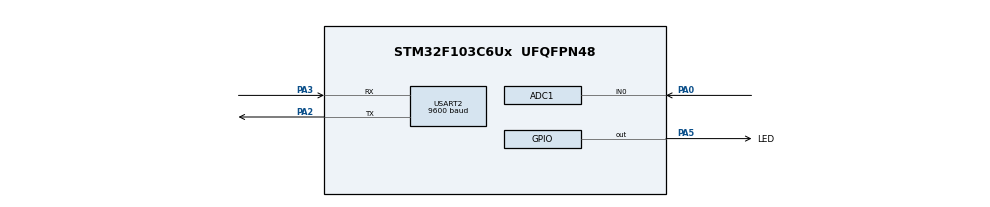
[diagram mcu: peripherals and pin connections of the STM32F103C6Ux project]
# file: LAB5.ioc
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ADC1.Channel-0\#ChannelRegularConversion=ADC_CHANNEL_0
ADC1.ContinuousConvMode=ENABLE
ADC1.NbrOfConversionFlag=1
ADC1.Rank-0\#ChannelRegularConversion=1
ADC1.SamplingTime-0\#ChannelRegularConversion=ADC_SAMPLETIME_1CYCLE_5
ADC1.master=1
Mcu.Family=STM32F1
Mcu.Name=STM32F103C6Ux
Mcu.Package=UFQFPN48
NVIC.PriorityGroup=NVIC_PRIORITYGROUP_4
NVIC.TIM2_IRQn=true\:0\:0\:false\:false\:true\:true\:true
NVIC.USART2_IRQn=true\:0\:0\:false\:false\:true\:true\:true
PA0-WKUP.Signal=ADCx_IN0
PA2.Mode=Asynchronous
PA2.Signal=USART2_TX
PA3.Mode=Asynchronous
PA3.Signal=USART2_RX
PA5.GPIO_Label=LED
PA5.Signal=GPIO_Output
ProjectManager.HeapSize=0x200
ProjectManager.StackSize=0x400
ProjectManager.TargetToolchain=STM32CubeIDE
RCC.APB1Freq_Value=8000000
RCC.APB2Freq_Value=8000000
SH.ADCx_IN0.0=ADC1_IN0,IN0
TIM2.Period=7999
TIM2.Prescaler=9
USART2.BaudRate=9600
USART2.VirtualMode=VM_ASYNC
VP_SYS_VS_ND.Mode=No_Debug
VP_TIM2_VS_ClockSourceINT.Mode=Internal
board=custom

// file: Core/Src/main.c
/* USER CODE BEGIN Header */
/**
  ******************************************************************************
  * @file           : main.c
  * @brief          : Main program body
  ******************************************************************************
  * @attention
  *
  * <h2><center>&copy; Copyright (c) 2023 STMicroelectronics.
  * All rights reserved.</center></h2>
  *
  * This software component is licensed by ST under BSD 3-Clause license,
  * the "License"; You may not use this file except in compliance with the
  * License. You may obtain a copy of the License at:
  *                        opensource.org/licenses/BSD-3-Clause
  *
  ******************************************************************************
  */
/* USER CODE END Header */
#include "main.h"

/* USER CODE BEGIN Includes */
#include "global.h"
#include "softwaretimer.h"
#include <stdio.h>
#include "string.h"
/* USER CODE END Includes */

ADC_HandleTypeDef hadc1;

TIM_HandleTypeDef htim2;

UART_HandleTypeDef huart2;

void SystemClock_Config(void);
static void MX_GPIO_Init(void);
static void MX_ADC1_Init(void);
static void MX_TIM2_Init(void);
static void MX_USART2_UART_Init(void);

/* USER CODE BEGIN 0 */

//int parser_check_next = INIT;
//int message_UART = INIT;
//
//int ADC_value = 0;
//char str[50];

void command_parser_fsm() {
	int index;
	if (index_buffer == 0) index = MAX_BUFFER_SIZE - 1;
	else index = index_buffer - 1;

	if (BEGIN){
		switch(parser_check_next) {
		case INIT:
			if (buffer[index] == '!') parser_check_next = _;
			HAL_UART_Transmit(&huart2, (uint8_t *)&buffer[index], 1, 1000);
			break;
		case _:
			if (buffer[index] == 'R') parser_check_next = _R;
			HAL_UART_Transmit(&huart2, (uint8_t *)&buffer[index], 1, 1000);
			break;
		case _R:
			if (buffer[index] == 'S') parser_check_next = _RS;
			HAL_UART_Transmit(&huart2, (uint8_t *)&buffer[index], 1, 1000);
			break;
		case _RS:
			if (buffer[index] == 'T') parser_check_next = _RST;
			HAL_UART_Transmit(&huart2, (uint8_t *)&buffer[index], 1, 1000);
			break;
		case _RST:
			if (buffer[index] == '#') {
				parser_check_next = INIT;
				message_UART = SEND;
				BEGIN = 0;
				END = 1;
				value_flag = 1;
			}
			HAL_UART_Transmit(&huart2, (uint8_t *)&buffer[index], 1, 1000);
			break;
		default:
			parser_check_next = INIT;
			break;
		}
	}

	if (END){
		switch (parser_check_next){
		case INIT:
			if (buffer[index] == '!') parser_check_next = O;
			HAL_UART_Transmit(&huart2, (uint8_t *)&buffer[index], 1, 1000);
			break;
		// END COMMUNICATION
		case O:
			if (buffer[index] == 'O') parser_check_next = OK;
			HAL_UART_Transmit(&huart2, (uint8_t *)&buffer[index], 1, 1000);
			break;
		case OK:
			if (buffer[index] == 'K') parser_check_next = _OK;
			HAL_UART_Transmit(&huart2, (uint8_t *)&buffer[index], 1, 1000);
			break;
		case _OK:
			if (buffer[index] == '#') {
				HAL_UART_Transmit(&huart2, (uint8_t *)&buffer[index], 1, 1000);
				message_UART = INIT;
				parser_check_next = INIT;
				BEGIN = 1;
				END = 0;
			}
			break;
		default:
			parser_check_next = INIT;
			//memset(buffer, 0, sizeof(buffer));
			break;
		}
	}

}

void uart_communiation_fsm() {
	switch (message_UART) {
	case INIT:
		break;
	case SEND:
		HAL_GPIO_TogglePin(LED_GPIO_Port, LED_Pin);
		if (value_flag){
			ADC_value = HAL_ADC_GetValue(&hadc1);
			value_flag = 0;
		}
		HAL_UART_Transmit(&huart2, (void *)str, sprintf(str, "\r!ADC=%d#\r\n", ADC_value), 1000);
		setTimer(0, 3000);
		message_UART = WAIT;
		break;
	case WAIT:
		if (isTimerExpired(0)) message_UART = SEND;
		break;
	default:
		break;
	}
}

/* USER CODE END 0 */

int main(void)
{

  /* MCU Configuration--------------------------------------------------------*/

  /* Reset of all peripherals, Initializes the Flash interface and the Systick. */
  HAL_Init();

  /* Configure the system clock */
  SystemClock_Config();

  /* Initialize all configured peripherals */
  MX_GPIO_Init();
  MX_ADC1_Init();
  MX_TIM2_Init();
  MX_USART2_UART_Init();
  /* USER CODE BEGIN 2 */
  HAL_UART_Receive_IT(&huart2, &temp, 1);
  HAL_TIM_Base_Start_IT(&htim2);
  HAL_ADC_Start(&hadc1);
  /* USER CODE END 2 */

  /* Infinite loop */
  /* USER CODE BEGIN WHILE */

  while (1)
  {

	  if (buffer_flag) {
		  command_parser_fsm();
		  buffer_flag = 0;
	  }
	  uart_communiation_fsm();
    /* USER CODE END WHILE */

  }
}

void SystemClock_Config(void)
{
  RCC_OscInitTypeDef RCC_OscInitStruct = {0};
  RCC_ClkInitTypeDef RCC_ClkInitStruct = {0};
  RCC_PeriphCLKInitTypeDef PeriphClkInit = {0};

  /** Initializes the RCC Oscillators according to the specified parameters
  * in the RCC_OscInitTypeDef structure.
  */
  RCC_OscInitStruct.OscillatorType = RCC_OSCILLATORTYPE_HSI;
  RCC_OscInitStruct.HSIState = RCC_HSI_ON;
  RCC_OscInitStruct.HSICalibrationValue = RCC_HSICALIBRATION_DEFAULT;
  RCC_OscInitStruct.PLL.PLLState = RCC_PLL_NONE;
  if (HAL_RCC_OscConfig(&RCC_OscInitStruct) != HAL_OK)
  {
    Error_Handler();
  }
  /** Initializes the CPU, AHB and APB buses clocks
  */
  RCC_ClkInitStruct.ClockType = RCC_CLOCKTYPE_HCLK|RCC_CLOCKTYPE_SYSCLK
                              |RCC_CLOCKTYPE_PCLK1|RCC_CLOCKTYPE_PCLK2;
  RCC_ClkInitStruct.SYSCLKSource = RCC_SYSCLKSOURCE_HSI;
  RCC_ClkInitStruct.AHBCLKDivider = RCC_SYSCLK_DIV1;
  RCC_ClkInitStruct.APB1CLKDivider = RCC_HCLK_DIV1;
  RCC_ClkInitStruct.APB2CLKDivider = RCC_HCLK_DIV1;

  if (HAL_RCC_ClockConfig(&RCC_ClkInitStruct, FLASH_LATENCY_0) != HAL_OK)
  {
    Error_Handler();
  }
  PeriphClkInit.PeriphClockSelection = RCC_PERIPHCLK_ADC;
  PeriphClkInit.AdcClockSelection = RCC_ADCPCLK2_DIV2;
  if (HAL_RCCEx_PeriphCLKConfig(&PeriphClkInit) != HAL_OK)
  {
    Error_Handler();
  }
}

static void MX_ADC1_Init(void)
{

  ADC_ChannelConfTypeDef sConfig = {0};

  /** Common config
  */
  hadc1.Instance = ADC1;
  hadc1.Init.ScanConvMode = ADC_SCAN_DISABLE;
  hadc1.Init.ContinuousConvMode = ENABLE;
  hadc1.Init.DiscontinuousConvMode = DISABLE;
  hadc1.Init.ExternalTrigConv = ADC_SOFTWARE_START;
  hadc1.Init.DataAlign = ADC_DATAALIGN_RIGHT;
  hadc1.Init.NbrOfConversion = 1;
  if (HAL_ADC_Init(&hadc1) != HAL_OK)
  {
    Error_Handler();
  }
  /** Configure Regular Channel
  */
  sConfig.Channel = ADC_CHANNEL_0;
  sConfig.Rank = ADC_REGULAR_RANK_1;
  sConfig.SamplingTime = ADC_SAMPLETIME_1CYCLE_5;
  if (HAL_ADC_ConfigChannel(&hadc1, &sConfig) != HAL_OK)
  {
    Error_Handler();
  }

}

static void MX_TIM2_Init(void)
{

  TIM_ClockConfigTypeDef sClockSourceConfig = {0};
  TIM_MasterConfigTypeDef sMasterConfig = {0};

  htim2.Instance = TIM2;
  htim2.Init.Prescaler = 9;
  htim2.Init.CounterMode = TIM_COUNTERMODE_UP;
  htim2.Init.Period = 7999;
  htim2.Init.ClockDivision = TIM_CLOCKDIVISION_DIV1;
  htim2.Init.AutoReloadPreload = TIM_AUTORELOAD_PRELOAD_DISABLE;
  if (HAL_TIM_Base_Init(&htim2) != HAL_OK)
  {
    Error_Handler();
  }
  sClockSourceConfig.ClockSource = TIM_CLOCKSOURCE_INTERNAL;
  if (HAL_TIM_ConfigClockSource(&htim2, &sClockSourceConfig) != HAL_OK)
  {
    Error_Handler();
  }
  sMasterConfig.MasterOutputTrigger = TIM_TRGO_RESET;
  sMasterConfig.MasterSlaveMode = TIM_MASTERSLAVEMODE_DISABLE;
  if (HAL_TIMEx_MasterConfigSynchronization(&htim2, &sMasterConfig) != HAL_OK)
  {
    Error_Handler();
  }

}

static void MX_USART2_UART_Init(void)
{

  huart2.Instance = USART2;
  huart2.Init.BaudRate = 9600;
  huart2.Init.WordLength = UART_WORDLENGTH_8B;
  huart2.Init.StopBits = UART_STOPBITS_1;
  huart2.Init.Parity = UART_PARITY_NONE;
  huart2.Init.Mode = UART_MODE_TX_RX;
  huart2.Init.HwFlowCtl = UART_HWCONTROL_NONE;
  huart2.Init.OverSampling = UART_OVERSAMPLING_16;
  if (HAL_UART_Init(&huart2) != HAL_OK)
  {
    Error_Handler();
  }

}

static void MX_GPIO_Init(void)
{
  GPIO_InitTypeDef GPIO_InitStruct = {0};

  /* GPIO Ports Clock Enable */
  __HAL_RCC_GPIOA_CLK_ENABLE();

  /*Configure GPIO pin Output Level */
  HAL_GPIO_WritePin(LED_GPIO_Port, LED_Pin, GPIO_PIN_RESET);

  /*Configure GPIO pin : LED_Pin */
  GPIO_InitStruct.Pin = LED_Pin;
  GPIO_InitStruct.Mode = GPIO_MODE_OUTPUT_PP;
  GPIO_InitStruct.Pull = GPIO_NOPULL;
  GPIO_InitStruct.Speed = GPIO_SPEED_FREQ_LOW;
  HAL_GPIO_Init(LED_GPIO_Port, &GPIO_InitStruct);

}

/* USER CODE BEGIN 4 */
void HAL_UART_RxCpltCallback(UART_HandleTypeDef *huart) {
	if (huart->Instance == USART2) {
//		HAL_UART_Transmit (&huart2 , &temp , 1, 50) ;
		buffer[index_buffer++] = temp;
		if (index_buffer == MAX_BUFFER_SIZE) index_buffer = 0;
		buffer_flag = 1;
		HAL_UART_Receive_IT(&huart2, &temp, 1);
	}
}

void HAL_TIM_PeriodElapsedCallback(TIM_HandleTypeDef *htim) {
	timer_run();
}

/* USER CODE END 4 */

void Error_Handler(void)
{
  __disable_irq();
  while (1)
  {
  }
}

/************************ (C) COPYRIGHT STMicroelectronics *****END OF FILE****/
